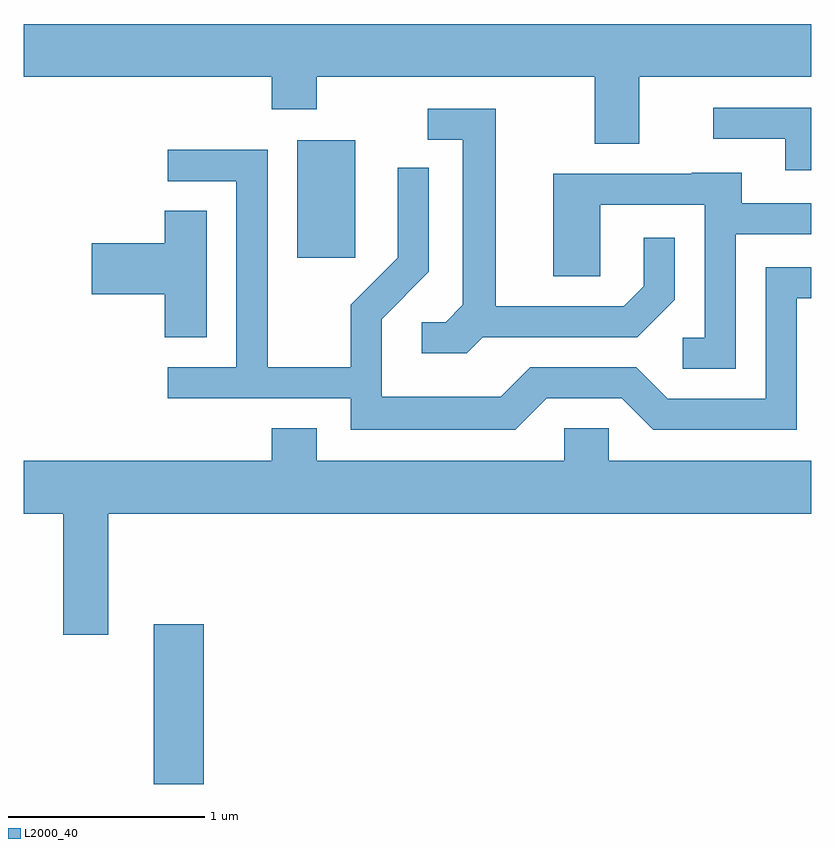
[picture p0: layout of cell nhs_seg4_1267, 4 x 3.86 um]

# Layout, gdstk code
import gdstk
lib = gdstk.Library(unit=1e-6, precision=1e-09)
def R(c, l, rs):  # rectangles x0, y0, x1, y1
    for r in rs: c.add(gdstk.rectangle(r[:2], r[2:], *l))
def P(c, l, *ps):  # polygons
    for p in ps: c.add(gdstk.Polygon(p, *l))
L2000_40 = (2000, 40)

nhs_seg4_1267 = lib.new_cell('nhs_seg4_1267')
R(nhs_seg4_1267, L2000_40, [(222.271,1339.982,222.524,1340.794), (223.001,1342.656,223.294,1343.254)])
P(nhs_seg4_1267, L2000_40, [(224.739,1343.576),(225.611,1343.576),(225.611,1343.844),(221.611,1343.844),(221.611,1343.576),(222.871,1343.576),(222.871,1343.411),(223.099,1343.411),(223.099,1343.576),(224.511,1343.576),(224.511,1343.236),(224.739,1343.236)],
  [(225.611,1343.419),(225.113,1343.419),(225.113,1343.261),(225.481,1343.261),(225.481,1343.101),(225.611,1343.101)],
  [(223.942,1342.251),(224.727,1342.251),(224.919,1342.444),(224.919,1342.758),(224.761,1342.758),(224.761,1342.512),(224.659,1342.409),(224.009,1342.409),(224.009,1343.414),(223.663,1343.414),(223.663,1343.256),(223.841,1343.256),(223.841,1342.417),(223.754,1342.329),(223.633,1342.329),(223.633,1342.171),(223.862,1342.171)],
  [(224.267,1341.941),(224.649,1341.941),(224.809,1341.781),(225.539,1341.781),(225.539,1342.451),(225.611,1342.451),(225.611,1342.609),(225.381,1342.609),(225.381,1341.939),(224.882,1341.939),(224.722,1342.099),(224.184,1342.099),(224.034,1341.949),(223.429,1341.949),(223.429,1342.344),(223.669,1342.584),(223.669,1343.113),(223.511,1343.113),(223.511,1342.657),(223.271,1342.417),(223.271,1342.099),(222.849,1342.099),(222.849,1343.204),(222.343,1343.204),(222.343,1343.046),(222.691,1343.046),(222.691,1342.099),(222.343,1342.099),(222.343,1341.941),(223.271,1341.941),(223.271,1341.781),(224.107,1341.781)],
  [(225.229,1342.776),(225.611,1342.776),(225.611,1342.934),(225.259,1342.934),(225.259,1343.089),(225.005,1343.089),(225.005,1343.084),(224.301,1343.084),(224.301,1342.561),(224.539,1342.561),(224.539,1342.926),(225.071,1342.926),(225.071,1342.249),(224.958,1342.249),(224.958,1342.091),(225.229,1342.091)],
  [(222.539,1342.894),(222.326,1342.894),(222.326,1342.729),(221.956,1342.729),(221.956,1342.471),(222.326,1342.471),(222.326,1342.251),(222.539,1342.251)],
  [(222.039,1341.356),(225.611,1341.356),(225.611,1341.624),(224.584,1341.624),(224.584,1341.789),(224.356,1341.789),(224.356,1341.624),(223.099,1341.624),(223.099,1341.789),(222.871,1341.789),(222.871,1341.624),(221.611,1341.624),(221.611,1341.356),(221.811,1341.356),(221.811,1340.741),(222.039,1340.741)])

lib.write_gds('nhs_seg4_1267.gds')
